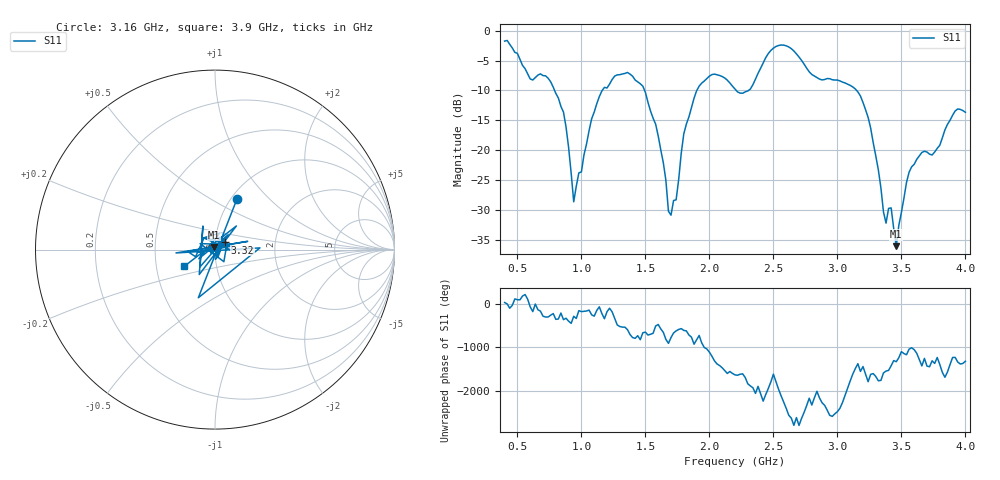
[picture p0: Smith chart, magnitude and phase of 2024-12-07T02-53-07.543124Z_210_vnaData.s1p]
!Created with skrf (http://scikit-rf.org).
# Hz S RI R 50.0
!freq ReS11 ImS11
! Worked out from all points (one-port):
!   181 points, 400 MHz to 4 GHz, reference 50 ohm
!   lowest |S11| = -36.1 dB at 3.46 GHz (marker M1), VSWR 1.03, Z = 49.4 + j1.42 ohm
!   |S11| at or under -10 dB: 790.5 MHz to 1.163 GHz (372.2 MHz wide, 38.1 % of centre); 1.494 GHz to 1.902 GHz (407.9 MHz wide, 24 % of centre); 3.15 GHz to end of sweep (the widest 3 of 4)
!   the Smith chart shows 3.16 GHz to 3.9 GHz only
!   S11 on the Smith chart (normalised r, x): 3.16 GHz: 1.07, +0.66; 3.32 GHz: 1.11, +0.09; 3.9 GHz: 0.70, -0.14
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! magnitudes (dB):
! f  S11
! 400 MHz  -1.7
! 600 MHz  -8.1
! 740 MHz  -8.0
! 860 MHz  -13.6
! 940 MHz  -28.7
! 1.14 GHz  -11.0
! 1.3 GHz  -7.4
! 1.5 GHz  -10.3
! 1.6 GHz  -17.6
! 1.68 GHz  -30.3
! 1.76 GHz  -24.9
! 1.8 GHz  -17.3
! 1.92 GHz  -9.3
! 2.2 GHz  -9.8
! 2.32 GHz  -9.8
! 2.52 GHz  -2.6
! 2.66 GHz  -3.4
! 3.1 GHz  -9.2
! 3.16 GHz  -10.3
! 3.24 GHz  -14.5
! 3.32 GHz  -23.3
! 3.38 GHz  -32.3
! 3.42 GHz  -29.7
! 3.46 GHz  -36.1
! 3.56 GHz  -23.7
! 3.76 GHz  -20.3
! 3.9 GHz  -14.2
! 4 GHz  -13.7
